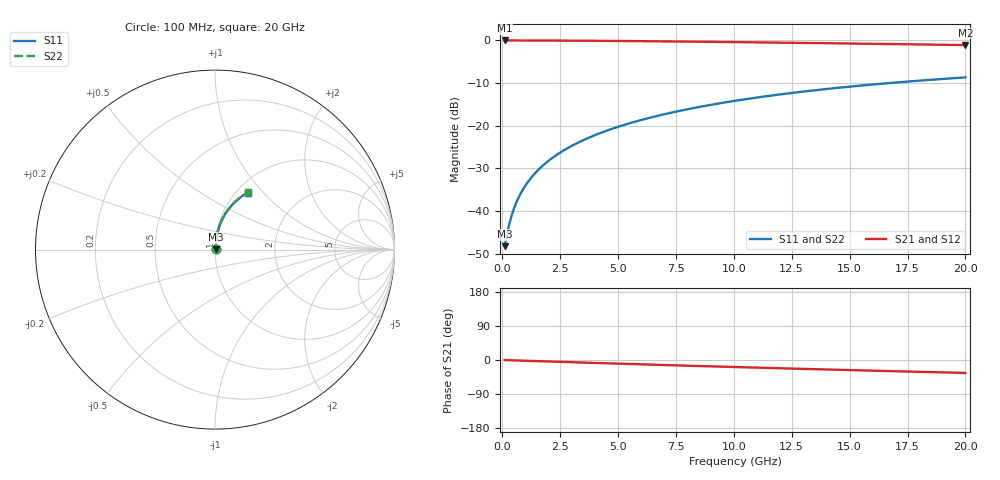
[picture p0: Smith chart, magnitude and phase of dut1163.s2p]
! Touchstone file exported from HFSS 2024.1.0
!  File:  C:/UserFiles/LocalFiles/RDL_TSV_Batchsim/temp_RDL_top_1163_1780048599.aedt
!  Generated:  05:58:53 PM May 29, 2026
!  Design:  RDL_top
!  Project:  temp_RDL_top_1163_1780048599
!  Setup:  Setup1
!  Solution:  Sweep
! Variables:
!  dtsv = 10.80580581um
!  hbump = 3um
!  htsv = 99.02um
!  ldown = 100um
!  lrdl = 438.97um
!  p = 40
!  p1 = 47.64um
!  rhole = 1um
!  t = 450um
!  tdown = 3.915915916um
!  trdl = 3.07um
!  wdown = 15.38538539um
!  wrdl = 16.32um
# GHz S MA R 50.000000
! Terminal data exported
! Port[1] = Box2_T1
! Port[2] = Box2_T2
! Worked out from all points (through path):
!   200 points, 100 MHz to 20 GHz, reference 50 ohm
!   highest |S21| = -0.03 dB at 100 MHz (marker M1); lowest = -1.1 dB at 20 GHz (marker M2)
!   group delay of S21, straight-line fit = 4.73 ps
!   lowest |S11| = -48.3 dB at 100 MHz (marker M3), VSWR 1.01, Z = 50.3 + j0.206 ohm
!   |S11| at or under -10 dB: start of sweep to 16.75 GHz
!   |S22| runs from -48.3 to -8.7 dB; largest |S21 - S12| = 2.5e-15
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0.1  0.003858 32.0  0.9967 -0.2  0.9967 -0.2  0.003858 32.0
! Gamma 0 0 0 0
! Port Impedance 50 0 50 0
0.2  0.005266 50.5  0.9966 -0.4  0.9966 -0.4  0.005266 50.5
0.3  0.006965 60.2  0.9965 -0.6  0.9965 -0.6  0.006965 60.2
0.4  0.008758 65.9  0.9964 -0.8  0.9964 -0.8  0.008758 65.9
0.5  0.01058 69.6  0.9963 -1.0  0.9963 -1.0  0.01058 69.6
0.6  0.01242 72.1  0.9961 -1.2  0.9961 -1.2  0.01242 72.1
0.8  0.01612 75.5  0.9959 -1.6  0.9959 -1.6  0.01612 75.5
1.1  0.02172 78.5  0.9954 -2.2  0.9954 -2.2  0.02172 78.5
1.3  0.02547 79.7  0.9951 -2.6  0.9951 -2.6  0.02547 79.7
1.6  0.03114 80.9  0.9946 -3.1  0.9946 -3.1  0.03114 80.9
2.1  0.04065 81.9  0.9936 -4.1  0.9936 -4.1  0.04066 81.9
2.7  0.05215 82.4  0.992 -5.3  0.992 -5.3  0.05216 82.4
3.5  0.0676 82.4  0.9894 -6.8  0.9894 -6.8  0.0676 82.4
4.2  0.0812 82.0  0.9867 -8.1  0.9867 -8.1  0.08121 82.0
5  0.09683 81.4  0.9832 -9.6  0.9832 -9.6  0.09684 81.4
5.9  0.1145 80.5  0.9787 -11.3  0.9787 -11.3  0.1145 80.5
6.8  0.1321 79.4  0.9738 -12.9  0.9738 -12.9  0.1322 79.4
8.4  0.1635 77.3  0.9642 -15.8  0.9642 -15.8  0.1635 77.3
10.1  0.1964 74.8  0.9532 -18.7  0.9532 -18.7  0.1964 74.9
13.4  0.258 69.8  0.93 -24.1  0.93 -24.1  0.2581 69.8
16.7  0.3154 64.8  0.9054 -29.2  0.9054 -29.2  0.3155 64.8
20  0.3677 59.9  0.88 -34.1  0.88 -34.1  0.3679 59.9
